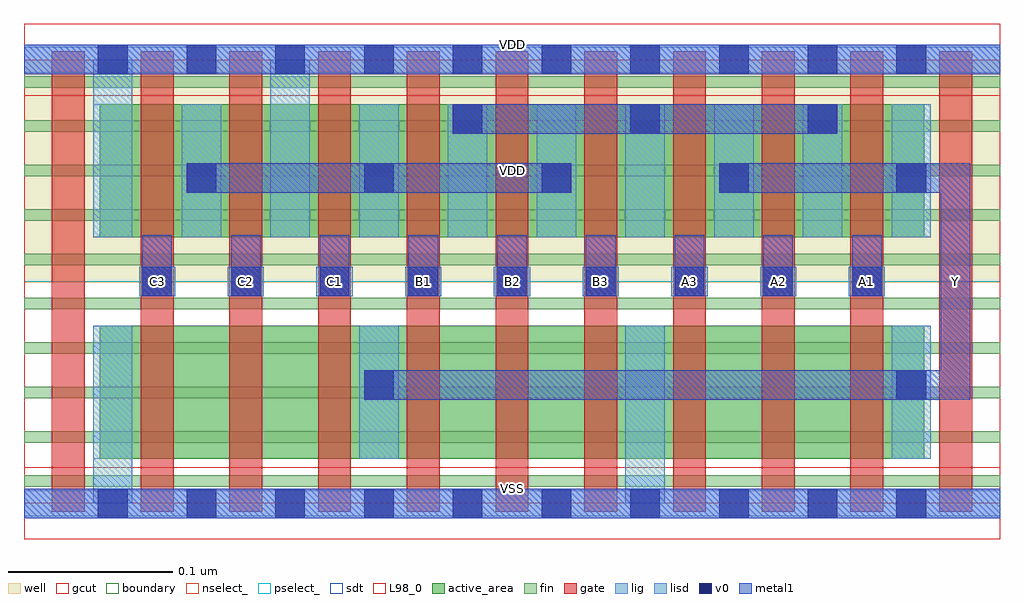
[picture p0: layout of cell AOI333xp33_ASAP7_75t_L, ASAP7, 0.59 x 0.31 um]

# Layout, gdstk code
import gdstk
lib = gdstk.Library(unit=1e-6, precision=2.5e-10)
def R(c, l, rs):  # rectangles x0, y0, x1, y1
    for r in rs: c.add(gdstk.rectangle(r[:2], r[2:], *l))
def A(c, l, x, y, w, h, nx, ny, dx, dy):  # array of equal rectangles
    R(c, l, [(x+i*dx, y+j*dy, x+i*dx+w, y+j*dy+h) for i in range(nx) for j in range(ny)])
def P(c, l, *ps):  # polygons
    for p in ps: c.add(gdstk.Polygon(p, *l))
well = (1, 0)
fin = (2, 0)
gate = (7, 0)
gcut = (10, 0)
active_area = (11, 0)
nselect_ = (12, 0)
pselect_ = (13, 0)
lig = (16, 0)
lisd = (17, 0)
v0 = (18, 0)
metal1 = (19, 0)
sdt = (88, 0)
L98_0 = (98, 0)
boundary = (100, 0)

aoi333xp33_asap7_75t_l = lib.new_cell('AOI333xp33_ASAP7_75t_L')
R(aoi333xp33_asap7_75t_l, well, [(0,0.135,0.594,0.27)])
A(aoi333xp33_asap7_75t_l, fin, 0, 0.01, 0.594, 0.007, 1, 10, 0, 0.027)
A(aoi333xp33_asap7_75t_l, gate, 0.017, -0.005, 0.02, 0.28, 11, 1, 0.054, 0)
R(aoi333xp33_asap7_75t_l, gcut, [(0,-0.022,0.594,0.022), (0,0.248,0.594,0.292)])
R(aoi333xp33_asap7_75t_l, active_area, [(0.046,0.027,0.548,0.108), (0.046,0.162,0.548,0.243)])
R(aoi333xp33_asap7_75t_l, nselect_, [(0,0,0.594,0.135)])
R(aoi333xp33_asap7_75t_l, pselect_, [(0,0.135,0.594,0.27)])
A(aoi333xp33_asap7_75t_l, lig, 0.07, 0.126, 0.022, 0.018, 9, 1, 0.054, 0)
R(aoi333xp33_asap7_75t_l, lig, [(0,-0.008,0.594,0.008), (0,0.262,0.594,0.278)])
A(aoi333xp33_asap7_75t_l, lisd, 0.204, 0.162, 0.024, 0.081, 7, 1, 0.054, 0)
R(aoi333xp33_asap7_75t_l, lisd, [(0.042,0,0.066,0.108), (0.042,0,0.066,0.108), (0.366,0,0.39,0.108), (0.366,0,0.39,0.108), (0.204,0.027,0.228,0.108), (0.528,0.027,0.552,0.108), (0.042,0.162,0.066,0.27), (0.042,0.162,0.066,0.27), (0.096,0.162,0.12,0.243), (0.15,0.162,0.174,0.27), (0.15,0.162,0.174,0.27)])
A(aoi333xp33_asap7_75t_l, v0, 0.045, -0.009, 0.018, 0.018, 10, 2, 0.054, 0.27)
A(aoi333xp33_asap7_75t_l, v0, 0.072, 0.126, 0.018, 0.018, 9, 1, 0.054, 0)
A(aoi333xp33_asap7_75t_l, v0, 0.099, 0.189, 0.018, 0.018, 5, 1, 0.108, 0)
A(aoi333xp33_asap7_75t_l, v0, 0.261, 0.225, 0.018, 0.018, 3, 1, 0.108, 0)
R(aoi333xp33_asap7_75t_l, v0, [(0.207,0.063,0.225,0.081), (0.531,0.063,0.549,0.081)])
A(aoi333xp33_asap7_75t_l, metal1, 0.072, 0.126, 0.018, 0.018, 9, 1, 0.054, 0)
A(aoi333xp33_asap7_75t_l, metal1, 0.072, 0.126, 0.018, 0.037, 9, 1, 0.054, 0)
A(aoi333xp33_asap7_75t_l, metal1, 0.099, 0.189, 0.018, 0.018, 5, 1, 0.108, 0)
A(aoi333xp33_asap7_75t_l, metal1, 0.261, 0.225, 0.018, 0.018, 3, 1, 0.108, 0)
R(aoi333xp33_asap7_75t_l, metal1, [(0,-0.009,0.594,0.009), (0.207,0.063,0.225,0.081), (0.531,0.063,0.549,0.081), (0.099,0.189,0.333,0.207), (0.261,0.225,0.495,0.243), (0,0.261,0.594,0.279)])
P(aoi333xp33_asap7_75t_l, metal1, [(0.423,0.207),(0.423,0.189),(0.558,0.189),(0.558,0.081),(0.207,0.081),(0.207,0.063),(0.576,0.063),(0.576,0.207)])
A(aoi333xp33_asap7_75t_l, sdt, 0.042, 0.027, 0.024, 0.081, 3, 1, 0.162, 0)
A(aoi333xp33_asap7_75t_l, sdt, 0.042, 0.162, 0.024, 0.081, 3, 1, 0.054, 0)
A(aoi333xp33_asap7_75t_l, sdt, 0.15, 0.162, 0.024, 0.081, 8, 1, 0.054, 0)
R(aoi333xp33_asap7_75t_l, sdt, [(0.042,0.027,0.066,0.108), (0.366,0.027,0.39,0.108), (0.528,0.027,0.552,0.108), (0.042,0.162,0.066,0.243)])
R(aoi333xp33_asap7_75t_l, L98_0, [(0,0,0.594,0.27)])
R(aoi333xp33_asap7_75t_l, boundary, [(0,0,0.594,0.27)])
aoi333xp33_asap7_75t_l.add(gdstk.Label('VDD', (0.297,0.2025), layer=1, texttype=251))
aoi333xp33_asap7_75t_l.add(gdstk.Label('VSS', (0.297,-0.0675), layer=3, texttype=251))
aoi333xp33_asap7_75t_l.add(gdstk.Label('VSS', (0.297,0.009), layer=19, texttype=251))
aoi333xp33_asap7_75t_l.add(gdstk.Label('VDD', (0.297,0.279), layer=19, texttype=251))
aoi333xp33_asap7_75t_l.add(gdstk.Label('C3', (0.081,0.135), layer=19, texttype=251))
aoi333xp33_asap7_75t_l.add(gdstk.Label('C2', (0.135,0.135), layer=19, texttype=251))
aoi333xp33_asap7_75t_l.add(gdstk.Label('C1', (0.189,0.135), layer=19, texttype=251))
aoi333xp33_asap7_75t_l.add(gdstk.Label('Y', (0.567,0.135), layer=19, texttype=251))
aoi333xp33_asap7_75t_l.add(gdstk.Label('B1', (0.243,0.135), layer=19, texttype=251))
aoi333xp33_asap7_75t_l.add(gdstk.Label('B2', (0.297,0.135), layer=19, texttype=251))
aoi333xp33_asap7_75t_l.add(gdstk.Label('B3', (0.351,0.135), layer=19, texttype=251))
aoi333xp33_asap7_75t_l.add(gdstk.Label('A3', (0.405,0.135), layer=19, texttype=251))
aoi333xp33_asap7_75t_l.add(gdstk.Label('A2', (0.459,0.135), layer=19, texttype=251))
aoi333xp33_asap7_75t_l.add(gdstk.Label('A1', (0.513,0.135), layer=19, texttype=251))

lib.write_gds('AOI333xp33_ASAP7_75t_L.gds')
